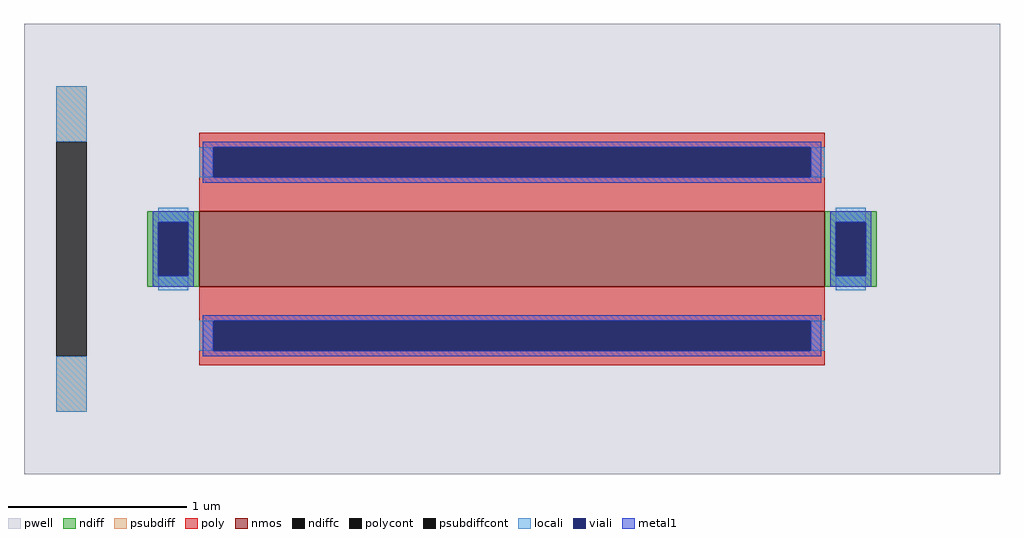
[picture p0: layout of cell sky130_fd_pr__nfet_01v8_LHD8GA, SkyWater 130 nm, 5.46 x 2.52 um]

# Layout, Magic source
magic
tech sky130A
<< pwell >>
rect -273 -126 273 126
<< nmos >>
rect -175 -21 175 21
<< ndiff >>
rect -204 15 -175 21
rect -204 -15 -198 15
rect -181 -15 -175 15
rect -204 -21 -175 -15
rect 175 15 204 21
rect 175 -15 181 15
rect 198 -15 204 15
rect 175 -21 204 -15
<< ndiffc >>
rect -198 -15 -181 15
rect 181 -15 198 15
<< psubdiff >>
rect -255 60 -238 91
rect -255 -91 -238 -60
<< psubdiffcont >>
rect -255 -60 -238 60
<< poly >>
rect -175 57 175 65
rect -175 40 -167 57
rect 167 40 175 57
rect -175 21 175 40
rect -175 -40 175 -21
rect -175 -57 -167 -40
rect 167 -57 175 -40
rect -175 -65 175 -57
<< polycont >>
rect -167 40 167 57
rect -167 -57 167 -40
<< locali >>
rect -255 60 -238 91
rect -175 40 -167 57
rect 167 40 175 57
rect -198 15 -181 23
rect -198 -23 -181 -15
rect 181 15 198 23
rect 181 -23 198 -15
rect -175 -57 -167 -40
rect 167 -57 175 -40
rect -255 -91 -238 -60
<< viali >>
rect -167 40 167 57
rect -198 -15 -181 15
rect 181 -15 198 15
rect -167 -57 167 -40
<< metal1 >>
rect -173 57 173 60
rect -173 40 -167 57
rect 167 40 173 57
rect -173 37 173 40
rect -201 15 -178 21
rect -201 -15 -198 15
rect -181 -15 -178 15
rect -201 -21 -178 -15
rect 178 15 201 21
rect 178 -15 181 15
rect 198 -15 201 15
rect 178 -21 201 -15
rect -173 -40 173 -37
rect -173 -57 -167 -40
rect 167 -57 173 -40
rect -173 -60 173 -57
<< properties >>
string FIXED_BBOX -246 -99 246 99
string gencell sky130_fd_pr__nfet_01v8
string library sky130
string parameters w 0.42 l 3.5 m 1 nf 1 diffcov 100 polycov 100 guard 1 glc 1 grc 1 gtc 1 gbc 1 tbcov 100 rlcov 100 topc 1 botc 1 poverlap 0 doverlap 1 lmin 0.15 wmin 0.42 compatible {sky130_fd_pr__nfet_01v8 sky130_fd_pr__nfet_01v8_lvt  sky130_fd_bs_flash__special_sonosfet_star  sky130_fd_pr__nfet_g5v0d10v5 sky130_fd_pr__nfet_05v0_nvt  sky130_fd_pr__nfet_03v3_nvt} full_metal 1 viasrc 100 viadrn 100 viagate 100 viagb 0 viagr 0 viagl 0 viagt 0
<< end >>
